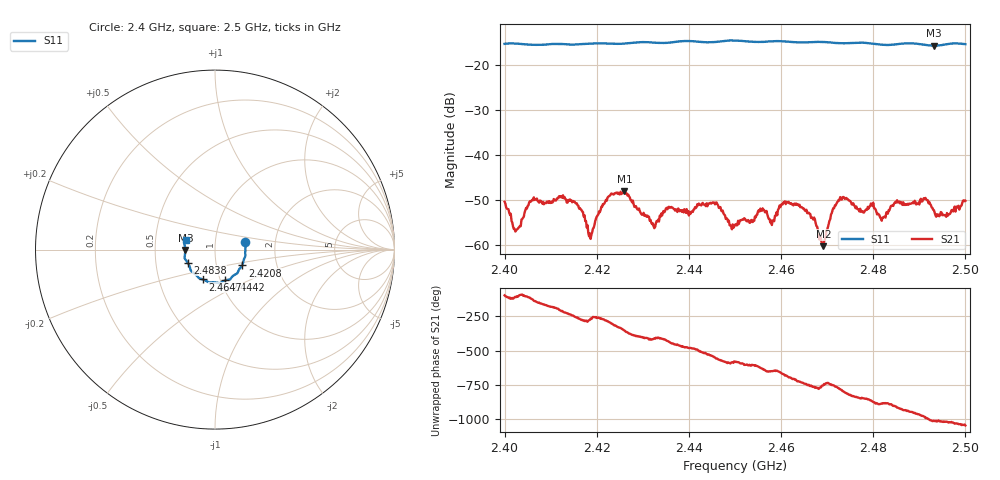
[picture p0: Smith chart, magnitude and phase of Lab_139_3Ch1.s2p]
# Hz S RI R 50
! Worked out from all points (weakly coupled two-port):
!   601 points, 2.4 GHz to 2.5 GHz, reference 50 ohm
!   highest |S21| = -47.94 dB at 2.426 GHz (marker M1); lowest = -60.2 dB at 2.4692 GHz (marker M2)
!   lowest |S11| = -15.6 dB at 2.4932 GHz (marker M3), VSWR 1.40, Z = 35.8 - j0.112 ohm
!   |S11| at or under -10 dB: start of sweep to end of sweep
!   S12 and S22 are empty: the file has one direction only
!   S11 on the Smith chart (normalised r, x): 2.4 GHz: 1.40, +0.12; 2.4208 GHz: 1.33, -0.24; 2.4442 GHz: 1.05, -0.37; 2.4647 GHz: 0.83, -0.29; 2.4838 GHz: 0.73, -0.11; 2.5 GHz: 0.72, +0.08
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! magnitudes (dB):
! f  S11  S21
! 2.4 GHz  -15.2  -50.3
! 2.4025 GHz  -15.2  -56.7
! 2.4065 GHz  -15.4  -49.9
! 2.4167 GHz  -15.3  -52.1
! 2.4187 GHz  -15.2  -58.6
! 2.4208 GHz  -15.1  -52.1
! 2.426 GHz  -15.2  -47.9
! 2.4333 GHz  -15.0  -54.3
! 2.4442 GHz  -14.9  -50.7
! 2.45 GHz  -14.5  -55.4
! 2.4557 GHz  -14.8  -52.2
! 2.458 GHz  -14.7  -55.5
! 2.461 GHz  -14.7  -50.8
! 2.4647 GHz  -14.9  -51.7
! 2.4667 GHz  -14.8  -53.8
! 2.4692 GHz  -14.8  -60.2
! 2.473 GHz  -15.1  -49.5
! 2.4833 GHz  -15.5  -52.2
! 2.4838 GHz  -15.4  -51.3
! 2.4913 GHz  -15.5  -49.5
! 2.4932 GHz  -15.6  -52.2
! 2.5 GHz  -15.3  -50.1
